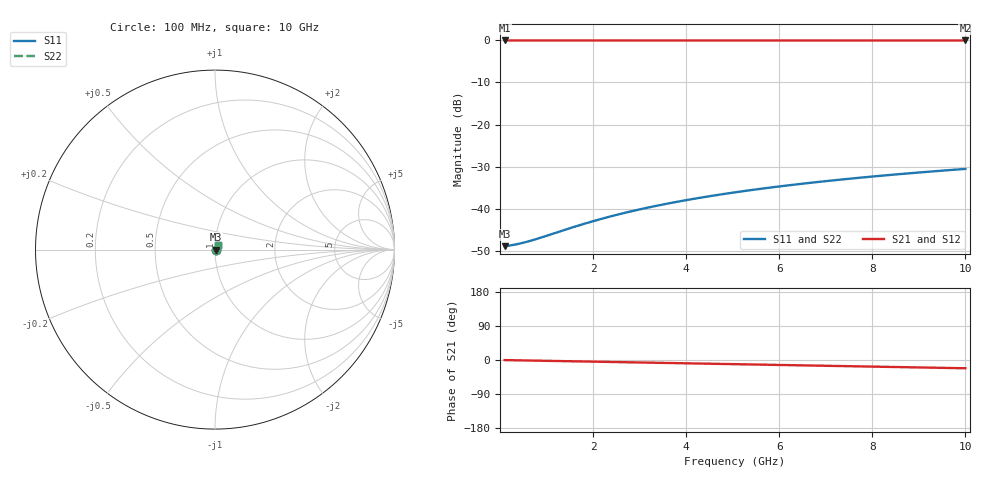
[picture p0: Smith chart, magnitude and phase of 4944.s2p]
# Hz S RI R 50.00
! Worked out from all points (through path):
!   100 points, 100 MHz to 10 GHz, reference 50 ohm
!   highest |S21| = -0.03 dB at 100 MHz (marker M1); lowest = 0.0 dB at 10 GHz (marker M2)
!   group delay of S21, straight-line fit = 6.06 ps
!   lowest |S11| = -48.9 dB at 100 MHz (marker M3), VSWR 1.01, Z = 50.4 + j0.0292 ohm
!   |S11| at or under -10 dB: start of sweep to end of sweep
!   |S22| runs from -48.9 to -30.5 dB; largest |S21 - S12| = 0
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1e8  0.00358 0.00029  0.9964 -0.00379  0.9964 -0.00379  0.00358 0.00029
3e8  0.00363 0.000869  0.9963 -0.0114  0.9963 -0.0114  0.00363 0.000869
4e8  0.00365 0.00116  0.9962 -0.0152  0.9962 -0.0152  0.00365 0.00116
6e8  0.00369 0.00174  0.9961 -0.0227  0.9961 -0.0227  0.00369 0.00174
9e8  0.00377 0.0026  0.9957 -0.0341  0.9957 -0.0341  0.00377 0.0026
1.5e9  0.00396 0.00433  0.9946 -0.0568  0.9946 -0.0568  0.00396 0.00433
1.8e9  0.00408 0.00519  0.9939 -0.0681  0.9939 -0.0681  0.00408 0.00519
2.2e9  0.00427 0.00633  0.9927 -0.0832  0.9927 -0.0832  0.00427 0.00633
2.6e9  0.0045 0.00746  0.9913 -0.0983  0.9913 -0.0983  0.0045 0.00746
3e9  0.00476 0.00859  0.9896 -0.1134  0.9896 -0.1134  0.00476 0.00859
3.4e9  0.00505 0.0097  0.9877 -0.1284  0.9877 -0.1284  0.00505 0.0097
3.8e9  0.00538 0.0108  0.9856 -0.1435  0.9856 -0.1435  0.00538 0.0108
4.2e9  0.00574 0.0119  0.9833 -0.1584  0.9833 -0.1584  0.00574 0.0119
4.6e9  0.00614 0.013  0.9807 -0.1734  0.9807 -0.1734  0.00614 0.013
5.1e9  0.00668 0.0143  0.9772 -0.192  0.9772 -0.192  0.00668 0.0143
5.5e9  0.00714 0.0154  0.9741 -0.2068  0.9741 -0.2068  0.00714 0.0154
5.9e9  0.00764 0.0164  0.9708 -0.2216  0.9708 -0.2216  0.00764 0.0164
6.7e9  0.00874 0.0184  0.9636 -0.2511  0.9636 -0.2511  0.00874 0.0184
7.5e9  0.00996 0.0204  0.9554 -0.2803  0.9554 -0.2803  0.00996 0.0204
8.4e9  0.0115 0.0225  0.9451 -0.3129  0.9451 -0.3129  0.0115 0.0225
9.2e9  0.0129 0.0243  0.935 -0.3415  0.935 -0.3415  0.0129 0.0243
1e10  0.0145 0.0259  0.9241 -0.3698  0.9241 -0.3698  0.0145 0.0259
